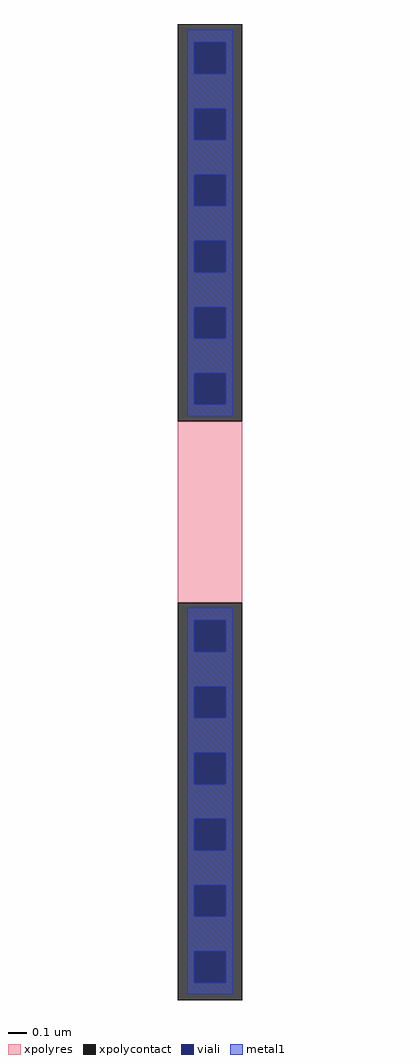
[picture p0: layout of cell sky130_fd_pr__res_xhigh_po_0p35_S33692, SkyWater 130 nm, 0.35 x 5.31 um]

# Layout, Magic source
magic
tech sky130A
magscale 1 2
<< xpolycontact >>
rect -35 99 35 531
rect -35 -531 35 -99
<< xpolyres >>
rect -35 -99 35 99
<< viali >>
rect -17 477 17 511
rect -17 405 17 439
rect -17 333 17 367
rect -17 261 17 295
rect -17 189 17 223
rect -17 117 17 151
rect -17 -152 17 -118
rect -17 -224 17 -190
rect -17 -296 17 -262
rect -17 -368 17 -334
rect -17 -440 17 -406
rect -17 -512 17 -478
<< metal1 >>
rect -25 511 25 525
rect -25 477 -17 511
rect 17 477 25 511
rect -25 439 25 477
rect -25 405 -17 439
rect 17 405 25 439
rect -25 367 25 405
rect -25 333 -17 367
rect 17 333 25 367
rect -25 295 25 333
rect -25 261 -17 295
rect 17 261 25 295
rect -25 223 25 261
rect -25 189 -17 223
rect 17 189 25 223
rect -25 151 25 189
rect -25 117 -17 151
rect 17 117 25 151
rect -25 104 25 117
rect -25 -118 25 -104
rect -25 -152 -17 -118
rect 17 -152 25 -118
rect -25 -190 25 -152
rect -25 -224 -17 -190
rect 17 -224 25 -190
rect -25 -262 25 -224
rect -25 -296 -17 -262
rect 17 -296 25 -262
rect -25 -334 25 -296
rect -25 -368 -17 -334
rect 17 -368 25 -334
rect -25 -406 25 -368
rect -25 -440 -17 -406
rect 17 -440 25 -406
rect -25 -478 25 -440
rect -25 -512 -17 -478
rect 17 -512 25 -478
rect -25 -525 25 -512
<< end >>
